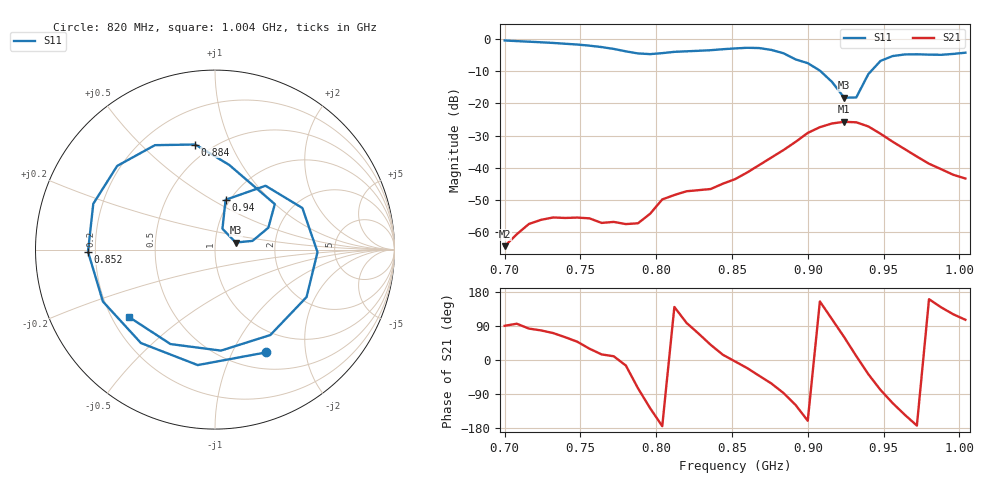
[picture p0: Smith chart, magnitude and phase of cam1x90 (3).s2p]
# Hz S RI R 50
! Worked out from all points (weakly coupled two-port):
!   39 points, 700 MHz to 1.004 GHz, reference 50 ohm
!   highest |S21| = -25.73 dB at 924 MHz (marker M1); lowest = -64.3 dB at 700 MHz (marker M2)
!   lowest |S11| = -18.3 dB at 924 MHz (marker M3), VSWR 1.28, Z = 62.9 + j5.04 ohm
!   |S11| at or under -10 dB: 908.3 MHz to 941.8 MHz (33.54 MHz wide, 3.63 % of centre)
!   S12 and S22 are empty: the file has one direction only
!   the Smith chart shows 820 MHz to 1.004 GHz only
!   S11 on the Smith chart (normalised r, x): 820 MHz: 0.70, -1.36; 852 MHz: 0.17, -0.01; 884 MHz: 0.41, +0.74; 940 MHz: 0.96, +0.58; 1.004 GHz: 0.27, -0.32
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7e8  0.7617 0.5517  -2.36e-06 0.000613  0 0  0 0
7.24e8  0.8455 -0.249  0.000324 0.00153  0 0  0 0
7.4e8  0.455 -0.7016  0.000835 0.00145  0 0  0 0
7.56e8  -0.1938 -0.7564  0.00143 0.000821  0 0  0 0
7.72e8  -0.6661 -0.1996  0.00143 0.000249  0 0  0 0
7.8e8  -0.5965 0.2256  0.0013 -0.000339  0 0  0 0
7.88e8  -0.2507 0.5361  0.000368 -0.00134  0 0  0 0
7.96e8  0.2363 0.5271  -0.00118 -0.00155  0 0  0 0
8.04e8  0.5696 0.1839  -0.00323 -0.000303  0 0  0 0
8.2e8  0.2819 -0.5732  -0.000604 0.0043  0 0  0 0
8.36e8  -0.4126 -0.5207  0.00361 0.00302  0 0  0 0
8.52e8  -0.7076 -0.0117  0.00666 -0.000431  0 0  0 0
8.68e8  -0.5451 0.4662  0.00825 -0.00736  0 0  0 0
8.84e8  -0.1098 0.5855  0.000933 -0.0189  0 0  0 0
9e8  0.3333 0.2533  -0.0328 -0.0117  0 0  0 0
9.08e8  0.2972 0.1219  -0.0385 0.0184  0 0  0 0
9.24e8  0.1157 0.0395  0.0254 0.045  0 0  0 0
9.32e8  0.0415 0.1159  0.05 0.00917  0 0  0 0
9.4e8  0.0591 0.2775  0.0347 -0.0267  0 0  0 0
9.56e8  0.4869 0.2316  -0.0102 -0.0233  0 0  0 0
9.8e8  0.3081 -0.4761  -0.0109 0.00387  0 0  0 0
1.004e9  -0.4774 -0.3767  -0.0019 0.00657  0 0  0 0
